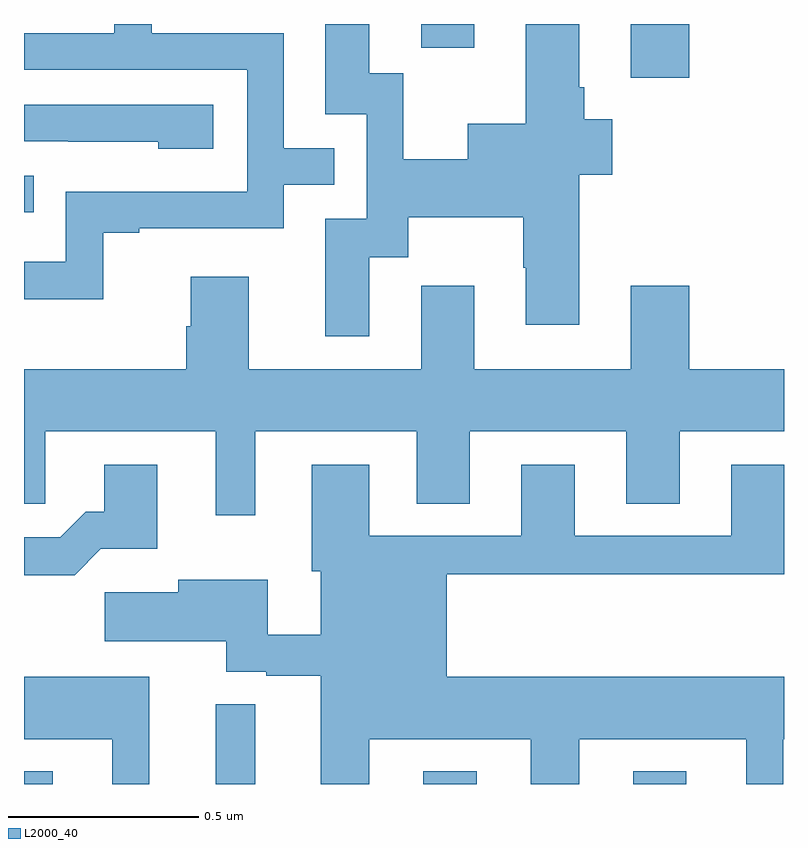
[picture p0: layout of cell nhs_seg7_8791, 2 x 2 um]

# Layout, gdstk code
import gdstk
lib = gdstk.Library(unit=1e-6, precision=1e-09)
def R(c, l, rs):  # rectangles x0, y0, x1, y1
    for r in rs: c.add(gdstk.rectangle(r[:2], r[2:], *l))
def P(c, l, *ps):  # polygons
    for p in ps: c.add(gdstk.Polygon(p, *l))
L2000_40 = (2000, 40)

nhs_seg7_8791 = lib.new_cell('nhs_seg7_8791')
R(nhs_seg7_8791, L2000_40, [(229,1021,229.075,1021.033), (230.051,1021,230.191,1021.033), (230.603,1021,230.743,1021.033), (229,1022.504,229.025,1022.601), (230.597,1022.859,230.75,1023), (230.046,1022.937,230.185,1023)])
P(nhs_seg7_8791, L2000_40, [(229.909,1022.386),(230.011,1022.386),(230.011,1022.492),(230.314,1022.492),(230.314,1022.358),(230.321,1022.358),(230.321,1022.208),(230.461,1022.208),(230.461,1022.603),(230.548,1022.603),(230.548,1022.75),(230.474,1022.75),(230.474,1022.833),(230.461,1022.833),(230.461,1023),(230.321,1023),(230.321,1022.737),(230.168,1022.737),(230.168,1022.644),(229.998,1022.644),(229.998,1022.871),(229.909,1022.871),(229.909,1023),(229.793,1023),(229.793,1022.763),(229.902,1022.763),(229.902,1022.487),(229.793,1022.487),(229.793,1022.178),(229.909,1022.178)],
  [(229.209,1022.451),(229.303,1022.451),(229.303,1022.463),(229.683,1022.463),(229.683,1022.577),(229.817,1022.577),(229.817,1022.673),(229.683,1022.673),(229.683,1022.976),(229.336,1022.976),(229.336,1023),(229.238,1023),(229.238,1022.976),(229,1022.976),(229,1022.88),(229.587,1022.88),(229.587,1022.559),(229.11,1022.559),(229.11,1022.374),(229,1022.374),(229,1022.276),(229.209,1022.276)],
  [(229.498,1022.787),(229,1022.787),(229,1022.691),(229.117,1022.691),(229.117,1022.69),(229.353,1022.69),(229.353,1022.672),(229.498,1022.672)],
  [(229.609,1021.928),(230.033,1021.928),(230.033,1021.738),(230.173,1021.738),(230.173,1021.928),(230.585,1021.928),(230.585,1021.738),(230.725,1021.738),(230.725,1021.928),(231,1021.928),(231,1022.092),(230.75,1022.092),(230.75,1022.311),(230.597,1022.311),(230.597,1022.092),(230.185,1022.092),(230.185,1022.311),(230.045,1022.311),(230.045,1022.092),(229.591,1022.092),(229.591,1022.335),(229.439,1022.335),(229.439,1022.205),(229.427,1022.205),(229.427,1022.092),(229,1022.092),(229,1021.738),(229.056,1021.738),(229.056,1021.928),(229.505,1021.928),(229.505,1021.707),(229.609,1021.707)],
  [(229.909,1021.118),(230.333,1021.118),(230.333,1021),(230.461,1021),(230.461,1021.118),(230.9,1021.118),(230.9,1021),(230.998,1021),(230.998,1021.118),(231,1021.118),(231,1021.282),(230.113,1021.282),(230.113,1021.552),(231,1021.552),(231,1021.84),(230.861,1021.84),(230.861,1021.653),(230.449,1021.653),(230.449,1021.84),(230.309,1021.84),(230.309,1021.653),(229.909,1021.653),(229.909,1021.84),(229.757,1021.84),(229.757,1021.56),(229.781,1021.56),(229.781,1021.393),(229.642,1021.393),(229.642,1021.537),(229.406,1021.537),(229.406,1021.505),(229.212,1021.505),(229.212,1021.376),(229.532,1021.376),(229.532,1021.296),(229.638,1021.296),(229.638,1021.285),(229.781,1021.285),(229.781,1021),(229.909,1021)],
  [(229.202,1021.619),(229.351,1021.619),(229.351,1021.84),(229.211,1021.84),(229.211,1021.717),(229.162,1021.717),(229.095,1021.65),(229,1021.65),(229,1021.55),(229.133,1021.55)],
  [(229.33,1021.282),(229,1021.282),(229,1021.118),(229.232,1021.118),(229.232,1021),(229.33,1021)],
  [(229.609,1021.097),(229.608,1021.097),(229.608,1021.21),(229.505,1021.21),(229.505,1021),(229.609,1021)])

lib.write_gds('nhs_seg7_8791.gds')
